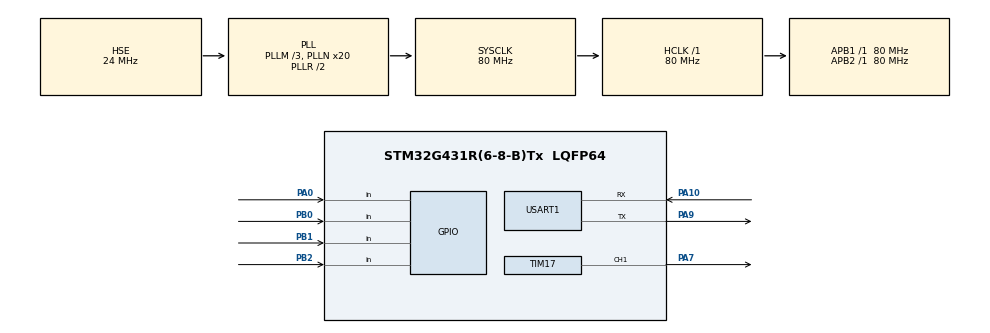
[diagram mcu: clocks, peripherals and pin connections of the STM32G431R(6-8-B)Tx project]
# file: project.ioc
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Mcu.Family=STM32G4
Mcu.Name=STM32G431R(6-8-B)Tx
Mcu.Package=LQFP64
NVIC.PriorityGroup=NVIC_PRIORITYGROUP_4
NVIC.TIM1_TRG_COM_TIM17_IRQn=true\:1\:0\:true\:false\:true\:true\:true\:true
NVIC.TIM6_DAC_IRQn=true\:0\:0\:false\:false\:true\:true\:true\:true
NVIC.USART1_IRQn=true\:0\:0\:false\:false\:true\:true\:true\:true
PA0.Signal=GPIO_Input
PA10.Mode=Asynchronous
PA10.Signal=USART1_RX
PA13.Mode=Serial_Wire
PA13.Signal=SYS_JTMS-SWDIO
PA14.Mode=Serial_Wire
PA14.Signal=SYS_JTCK-SWCLK
PA7.Signal=S_TIM17_CH1
PA9.Mode=Asynchronous
PA9.Signal=USART1_TX
PB0.Signal=GPIO_Input
PB1.Signal=GPIO_Input
PB2.Signal=GPIO_Input
PF0-OSC_IN.Mode=HSE-External-Oscillator
PF0-OSC_IN.Signal=RCC_OSC_IN
PF1-OSC_OUT.Mode=HSE-External-Oscillator
PF1-OSC_OUT.Signal=RCC_OSC_OUT
ProjectManager.HeapSize=0x200
ProjectManager.StackSize=0x400
ProjectManager.TargetToolchain=MDK-ARM V5.32
RCC.ADC12Freq_Value=80000000
RCC.AHBFreq_Value=80000000
RCC.APB1Freq_Value=80000000
RCC.APB1TimFreq_Value=80000000
RCC.APB2Freq_Value=80000000
RCC.APB2TimFreq_Value=80000000
RCC.CortexFreq_Value=80000000
RCC.EXTERNAL_CLOCK_VALUE=12288000
RCC.HCLKFreq_Value=80000000
RCC.HSE_VALUE=24000000
RCC.HSI48_VALUE=48000000
RCC.HSI_VALUE=16000000
RCC.LSE_VALUE=32768
RCC.PLLM=RCC_PLLM_DIV3
RCC.PLLN=20
RCC.PLLSourceVirtual=RCC_PLLSOURCE_HSE
RCC.SYSCLKFreq_VALUE=80000000
RCC.SYSCLKSource=RCC_SYSCLKSOURCE_PLLCLK
RCC.USBFreq_Value=80000000
RCC.VCOOutputFreq_Value=160000000
SH.S_TIM17_CH1.0=TIM17_CH1,PWM Generation1 CH1
TIM17.Channel=TIM_CHANNEL_1
TIM17.PeriodNoDither=100-1
TIM17.Prescaler=400-1
TIM6.PeriodNoDither=10000-1
TIM6.Prescaler=800-1
USART1.VirtualMode-Asynchronous=VM_ASYNC
VP_SYS_VS_DBSignals.Mode=DisableDeadBatterySignals
VP_TIM17_VS_ClockSourceINT.Mode=Enable_Timer
VP_TIM6_VS_ClockSourceINT.Mode=Enable_Timer
board=custom

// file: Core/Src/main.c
/* USER CODE BEGIN Header */
/**
 ******************************************************************************
 * @file           : main.c
 * @brief          : Main program body
 ******************************************************************************
 * @attention
 *
 * Copyright (c) 2024 STMicroelectronics.
 * All rights reserved.
 *
 * This software is licensed under terms that can be found in the LICENSE file
 * in the root directory of this software component.
 * If no LICENSE file comes with this software, it is provided AS-IS.
 *
 ******************************************************************************
 */
/* USER CODE END Header */
#include "main.h"
#include "tim.h"
#include "usart.h"
#include "gpio.h"

/* USER CODE BEGIN Includes */
#include "lcd.h"
#include "led.h"
#include "stdio.h"
#include "stdbool.h"
#include "string.h"
#include "time.h"
/* USER CODE END Includes */

/* USER CODE BEGIN PTD */
typedef struct
{
  char car_type[5], car_num[5];
  int year, month, day, hour, min, sec;
  bool isempty;
} car_stop;
car_stop car[8];      // 停车场每个车的信息
car_stop car_receive; // 串口发送过来的数据

typedef struct
{
  float cnbr_spend, vnbr_spend;
  int cnbr_num, vnbr_num;
} stop_msg;

stop_msg stop_message; // 停车场的整体信息
/* USER CODE END PTD */

/* USER CODE BEGIN PD */
int mode = 0;
bool B4 = true;
/* USER CODE END PD */

/* USER CODE BEGIN PM */
bool date_legality(int year, int month, int day, int hour, int minute, int second)
{
  if (month < 1 || month > 12)
  {
    return false;
  }
  else
  {
    if (month == 1 || month == 3 || month == 5 || month == 7 || month == 8 || month == 10 || month == 12)
    {
      if (day < 1 && day > 31)
      {
        return false;
      }
    }
    else if (month == 4 || month == 6 || month == 9 || month == 11)
    {
      if (day < 1 && day > 30)
      {
        return false;
      }
    }
    else
    {
      if ((year % 100 != 0 && year % 4 == 0) || year % 400 == 0)
      { // 闰年
        if (day < 1 && day > 29)
        {
          return false;
        }
      }
      else
      {
        if (day < 1 && day > 28)
        {
          return false;
        }
      }
    }
  }
  if ((hour > 24 || hour < 0) && (minute > 59 || minute < 0) && (second > 59 || second < 0))
  {
    return false;
  }
  return true;
}
/* USER CODE END PM */

/* USER CODE BEGIN PV */
bool check_car_type(char car_type[], char standard_type[])
{
  if (strcmp(car_type, standard_type) == 0)
  {
    return true;
  }
  return false;
}
/* USER CODE END PV */

void SystemClock_Config(void);
/* USER CODE BEGIN PFP */
int differ_time(int i)
{
  struct tm time_start = {0}, time_end = {0};
  time_t time_diff;

  time_start.tm_year = car_receive.year + 100; // 从1900年开始算
  time_start.tm_mon = car_receive.month - 1;
  time_start.tm_mday = car_receive.day;
  time_start.tm_hour = car_receive.hour;
  time_start.tm_min = car_receive.min;
  time_start.tm_sec = car_receive.sec;

  time_end.tm_year = car[i].year - 1900;
  time_end.tm_mon = car[i].month - 1;
  time_end.tm_mday = car[i].day;
  time_end.tm_hour = car[i].hour;
  time_end.tm_min = car[i].min;
  time_end.tm_sec = car[i].sec;

  time_t ts = mktime(&time_start);
  time_t te = mktime(&time_end);

  time_diff = difftime(ts, te);

  int days = time_diff / (24 * 3600);
  int hours = (time_diff % (24 * 3600)) / 3600;
  int minutes = (time_diff % 3600) / 60;
  int seconds = time_diff % 60;

  if (days >= 0 && hours >= 0 && minutes >= 0 && seconds >= 0)
  {
    return (days * 24 + hours + (minutes > 0 ? 1 : 0));
  }
  return -1;
}
/* USER CODE END PFP */

/* USER CODE BEGIN 0 */
void car_check(void)
{
  if (strlen(USART1_RECEIVE_ARRAY) == 22) // 字符长度22
  {
    sscanf(USART1_RECEIVE_ARRAY, "%[^:]:%[^:]:%2d%2d%2d%2d%2d%2d",
           car_receive.car_type, car_receive.car_num, &car_receive.year, &car_receive.month,
           &car_receive.day, &car_receive.hour, &car_receive.min, &car_receive.sec);
    if (date_legality(car_receive.year, car_receive.month, car_receive.day,
                      car_receive.hour, car_receive.min, car_receive.sec) &&
        (check_car_type(car_receive.car_type, (char *)"VNBR\0") || check_car_type(car_receive.car_type, (char *)"CNBR\0")))
    {
      for (int i = 0; i < 8; i++)
      {
        if (car[i].isempty == false && check_car_type(car[i].car_num, car_receive.car_num))
        {
          car[i].isempty = true;
          int ans = differ_time(i);
          if (ans != -1)
          {
            if (check_car_type(car_receive.car_type, (char *)"CNBR\0"))
            {
              printf("%s:%s:%d:%.2f\r\n", car_receive.car_type, car_receive.car_num, ans,
                     ans * stop_message.cnbr_spend);
              stop_message.cnbr_num--;
            }
            else
            {
              printf("%s:%s:%d:%.2f\r\n", car_receive.car_type, car_receive.car_num, ans,
                     ans * stop_message.vnbr_spend);
              stop_message.vnbr_num--;
            }
          }
          else
          {
            printf("\r\nError\r\n");
          }
          return;
        }
      }
      int j = 0;
      while (car[j].isempty == false)
        j++;
      if (j > 7)
      {
        printf("\r\nError\r\n");
        return;
      }
      strcpy(car[j].car_num, car_receive.car_num);
      strcpy(car[j].car_type, car_receive.car_type);
      car[j].year = car_receive.year + 2000;
      car[j].month = car_receive.month;
      car[j].day = car_receive.day;
      car[j].hour = car_receive.hour;
      car[j].min = car_receive.min;
      car[j].sec = car_receive.sec;
      car[j].isempty = false;
      if (strcmp(car_receive.car_type, "CNBR\0") == 0)
      {
        stop_message.cnbr_num++;
      }
      else
      {
        stop_message.vnbr_num++;
      }
    }
    else
    {
      printf("\r\nError\r\n");
    }
  }
  else
  {
    printf("\r\nError\r\n");
  }
}
/* USER CODE END 0 */

int main(void)
{

  /* MCU Configuration--------------------------------------------------------*/

  /* Reset of all peripherals, Initializes the Flash interface and the Systick. */
  HAL_Init();

  /* Configure the system clock */
  SystemClock_Config();

  /* Initialize all configured peripherals */
  MX_GPIO_Init();
  MX_TIM6_Init();
  MX_TIM17_Init();
  MX_USART1_UART_Init();
  /* USER CODE BEGIN 2 */
  led_init();
  LCD_Init();
  LCD_Clear(Black);
  LCD_SetBackColor(Black);
  LCD_SetTextColor(White);
  /* USER CODE END 2 */

  /* Infinite loop */
  /* USER CODE BEGIN WHILE */
  HAL_TIM_Base_Start_IT(&htim6);
  HAL_TIM_PWM_Start_IT(&htim17, TIM_CHANNEL_1);
  HAL_UART_Receive_IT(&huart1, (uint8_t *)USART1_RECEIVE_DATA, USART1_RECEIVE_BUUFER_SIZE);
  __HAL_TIM_SET_COMPARE(&htim17, TIM_CHANNEL_1, 0);

  car[0].isempty = true;
  car[1].isempty = true;
  car[2].isempty = true;
  car[3].isempty = true;
  car[4].isempty = true;
  car[5].isempty = true;
  car[6].isempty = true;
  car[7].isempty = true;

  stop_message.cnbr_num = 0;
  stop_message.vnbr_num = 0;
  stop_message.cnbr_spend = 3.5;
  stop_message.vnbr_spend = 2;
  while (1)
  {
    if (USART1_RECEIVE_STATE & 0x8000)
    {
      USART1_RECEIVE_STATE = 0;
      car_check();
    }
    if (8 - stop_message.cnbr_num - stop_message.vnbr_num > 0)
    {
      led_ON(1);
    }
    else
    {
      led_OFF(1);
    }
    /* USER CODE END WHILE */

    /* USER CODE BEGIN 3 */
    if (HAL_GPIO_ReadPin(GPIOB, GPIO_PIN_0) == 0)
    {
      while (HAL_GPIO_ReadPin(GPIOB, GPIO_PIN_0) == 0)
        ;
      mode++;
      if (mode == 2)
        mode = 0;
    }
    else if (HAL_GPIO_ReadPin(GPIOB, GPIO_PIN_1) == 0)
    {
      while (HAL_GPIO_ReadPin(GPIOB, GPIO_PIN_1) == 0)
        ;
      if (mode == 1)
      {
        stop_message.cnbr_spend += 0.5;
        stop_message.vnbr_spend += 0.5;
      }
    }
    else if (HAL_GPIO_ReadPin(GPIOB, GPIO_PIN_2) == 0)
    {
      while (HAL_GPIO_ReadPin(GPIOB, GPIO_PIN_2) == 0)
        ;
      if (mode == 1)
      {
        stop_message.cnbr_spend -= 0.5;
        stop_message.vnbr_spend -= 0.5;
      }
    }
    else if (HAL_GPIO_ReadPin(GPIOA, GPIO_PIN_0) == 0)
    {
      while (HAL_GPIO_ReadPin(GPIOA, GPIO_PIN_0) == 0)
        ;
      if (B4)
      {
        B4 = false;
        __HAL_TIM_SET_COMPARE(&htim17, TIM_CHANNEL_1, 20);
        led_ON(2);
      }
      else
      {
        B4 = true;
        __HAL_TIM_SET_COMPARE(&htim17, TIM_CHANNEL_1, 0);
        led_OFF(2);
      }
    }
  }
  /* USER CODE END 3 */
}

void SystemClock_Config(void)
{
  RCC_OscInitTypeDef RCC_OscInitStruct = {0};
  RCC_ClkInitTypeDef RCC_ClkInitStruct = {0};

  /** Configure the main internal regulator output voltage
   */
  HAL_PWREx_ControlVoltageScaling(PWR_REGULATOR_VOLTAGE_SCALE1);

  /** Initializes the RCC Oscillators according to the specified parameters
   * in the RCC_OscInitTypeDef structure.
   */
  RCC_OscInitStruct.OscillatorType = RCC_OSCILLATORTYPE_HSE;
  RCC_OscInitStruct.HSEState = RCC_HSE_ON;
  RCC_OscInitStruct.PLL.PLLState = RCC_PLL_ON;
  RCC_OscInitStruct.PLL.PLLSource = RCC_PLLSOURCE_HSE;
  RCC_OscInitStruct.PLL.PLLM = RCC_PLLM_DIV3;
  RCC_OscInitStruct.PLL.PLLN = 20;
  RCC_OscInitStruct.PLL.PLLP = RCC_PLLP_DIV2;
  RCC_OscInitStruct.PLL.PLLQ = RCC_PLLQ_DIV2;
  RCC_OscInitStruct.PLL.PLLR = RCC_PLLR_DIV2;
  if (HAL_RCC_OscConfig(&RCC_OscInitStruct) != HAL_OK)
  {
    Error_Handler();
  }

  /** Initializes the CPU, AHB and APB buses clocks
   */
  RCC_ClkInitStruct.ClockType = RCC_CLOCKTYPE_HCLK | RCC_CLOCKTYPE_SYSCLK | RCC_CLOCKTYPE_PCLK1 | RCC_CLOCKTYPE_PCLK2;
  RCC_ClkInitStruct.SYSCLKSource = RCC_SYSCLKSOURCE_PLLCLK;
  RCC_ClkInitStruct.AHBCLKDivider = RCC_SYSCLK_DIV1;
  RCC_ClkInitStruct.APB1CLKDivider = RCC_HCLK_DIV1;
  RCC_ClkInitStruct.APB2CLKDivider = RCC_HCLK_DIV1;

  if (HAL_RCC_ClockConfig(&RCC_ClkInitStruct, FLASH_LATENCY_2) != HAL_OK)
  {
    Error_Handler();
  }
}

/* USER CODE BEGIN 4 */
char text[30];
void HAL_TIM_PeriodElapsedCallback(TIM_HandleTypeDef *htim)
{
  if (htim->Instance == TIM6)
  {
    if (mode == 0)
    {
      LCD_DisplayStringLine(Line2, (u8 *)"        Data    ");
      sprintf(text, "   CNBR:%d    ", stop_message.cnbr_num);
      LCD_DisplayStringLine(Line4, (u8 *)text);
      sprintf(text, "   VNBR:%d    ", stop_message.vnbr_num);
      LCD_DisplayStringLine(Line6, (u8 *)text);
      sprintf(text, "   IDLE:%d    ", 8 - stop_message.cnbr_num - stop_message.vnbr_num);
      LCD_DisplayStringLine(Line8, (u8 *)text);
    }
    else if (mode == 1)
    {
      LCD_DisplayStringLine(Line2, (u8 *)"        Para    ");
      sprintf(text, "   CNBR:%.2f    ", stop_message.cnbr_spend);
      LCD_DisplayStringLine(Line4, (u8 *)text);
      sprintf(text, "   VNBR:%.2f    ", stop_message.vnbr_spend);
      LCD_DisplayStringLine(Line6, (u8 *)text);
      LCD_DisplayStringLine(Line8, (u8 *)"              ");
    }
  }
}
/* USER CODE END 4 */

void Error_Handler(void)
{
  __disable_irq();
  while (1)
  {
  }
}
